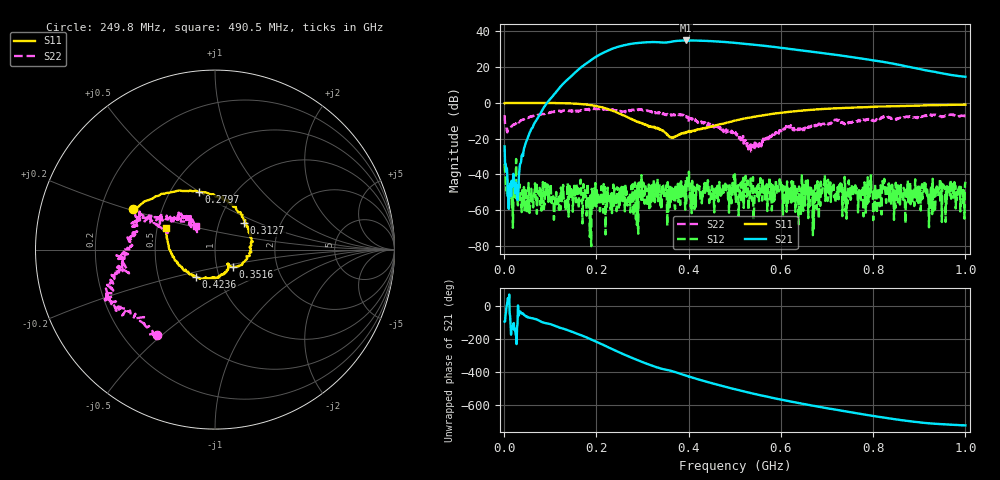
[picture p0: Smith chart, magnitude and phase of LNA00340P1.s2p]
! Created with skrf 1.9.0 (http://scikit-rf.org).
# Hz S RI R 50.0
!freq ReS11 ImS11 ReS21 ImS21 ReS12 ImS12 ReS22 ImS22
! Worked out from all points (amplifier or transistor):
!   1001 points, 1 MHz to 1 GHz, reference 50 ohm
!   highest |S21| = 35.0 dB at 394.6 MHz (marker M1)
!   |S21| within 3 dB of that: 255 MHz to 563.4 MHz (308.4 MHz wide, 75.4 % of centre)
!   unconditionally stable (mu >= 1): start of sweep to 78.66 MHz; 236.8 MHz to 297.4 MHz; 298.1 MHz to end of sweep (the widest 3 of 28)
!   at 166.8 MHz: K = 0.84, MSG = 34.6 dB, |S12| = -49.3 dB
!   at 500.5 MHz: K = 1.12, MAG = 34.7 dB, |S12| = -39.9 dB
!   at 1 GHz: K = 2.27, MAG = 23.0 dB, |S12| = -44.1 dB
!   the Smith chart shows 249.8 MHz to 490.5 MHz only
!   S11 on the Smith chart (normalised r, x): 249.8 MHz: 0.34, +0.21; 279.7 MHz: 0.69, +0.50; 312.7 MHz: 1.32, +0.41; 351.6 MHz: 1.20, -0.24; 423.6 MHz: 0.78, -0.24; 490.5 MHz: 0.56, +0.15
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1000000  0.9798 -0.00174  -0.00446 -0.0606  -0.014 -0.0138  0.3169 0.3239
1.08892e8  0.5133 -0.8507  -0.8372 -1.555  0.000101 0.000881  0.4235 -0.3591
1.67833e8  -0.2474 -0.8922  -10.15 -0.4088  8.62e-05 -0.00175  0.0367 -0.6249
2.11789e8  -0.6796 -0.3327  -15.11 18.88  -0.00155 0.00145  -0.2113 -0.6419
2.29771e8  -0.639 -0.0342  -8.092 29.85  -0.000989 -0.00225  -0.2615 -0.6171
2.49751e8  -0.4547 0.2245  7.065 37.5  -0.00319 -0.000159  -0.3206 -0.4737
2.79721e8  -0.0884 0.3196  33.34 31.55  -0.000374 -0.00205  -0.5653 -0.3054
3.12688e8  0.1629 0.1481  49.49 6.028  -0.000911 -0.00368  -0.567 -0.1895
3.34666e8  0.1929 -0.0344  48.44 -12.18  7.95e-05 0.00437  -0.5105 -0.0517
3.51649e8  0.1002 -0.0971  44.07 -21.68  -0.00406 0.0029  -0.4539 0.0352
3.71629e8  0.0792 -0.0872  41.07 -34.9  -0.00334 0.00308  -0.4325 0.148
3.94606e8  0.0281 -0.146  26.6 -49.27  -0.000398 0.00138  -0.394 0.158
4.23577e8  -0.1046 -0.1505  3.626 -55.1  0.00427 0.00198  -0.239 0.1574
4.55545e8  -0.2229 -0.0608  -19.34 -49.14  0.000775 -0.000393  -0.1276 0.1664
4.9051e8  -0.271 0.1199  -35.78 -33.49  -0.000691 0.00173  -0.1076 0.1313
5.005e8  -0.2744 0.168  -38.95 -28.43  -0.00392 0.00927  -0.0693 0.1343
5.4046e8  -0.1768 0.367  -41.98 -7.284  0.000483 0.000253  -0.0604 0.00335
5.87413e8  0.0406 0.5052  -34.66 12.1  0.0021 -0.00312  -0.1327 -0.0634
6.67333e8  0.4181 0.4875  -12.46 23.87  -0.00205 0.000438  -0.2142 -0.0508
7.53247e8  0.6889 0.2656  4.602 18.63  -0.00269 -0.00245  -0.2918 -0.00756
8.34166e8  0.7994 -0.000625  10.08 8.532  -0.00141 -0.00542  -0.3837 0.00504
1e9  0.7217 -0.535  5.397 -0.252  -0.00624 -8.66e-05  -0.2786 0.3543
